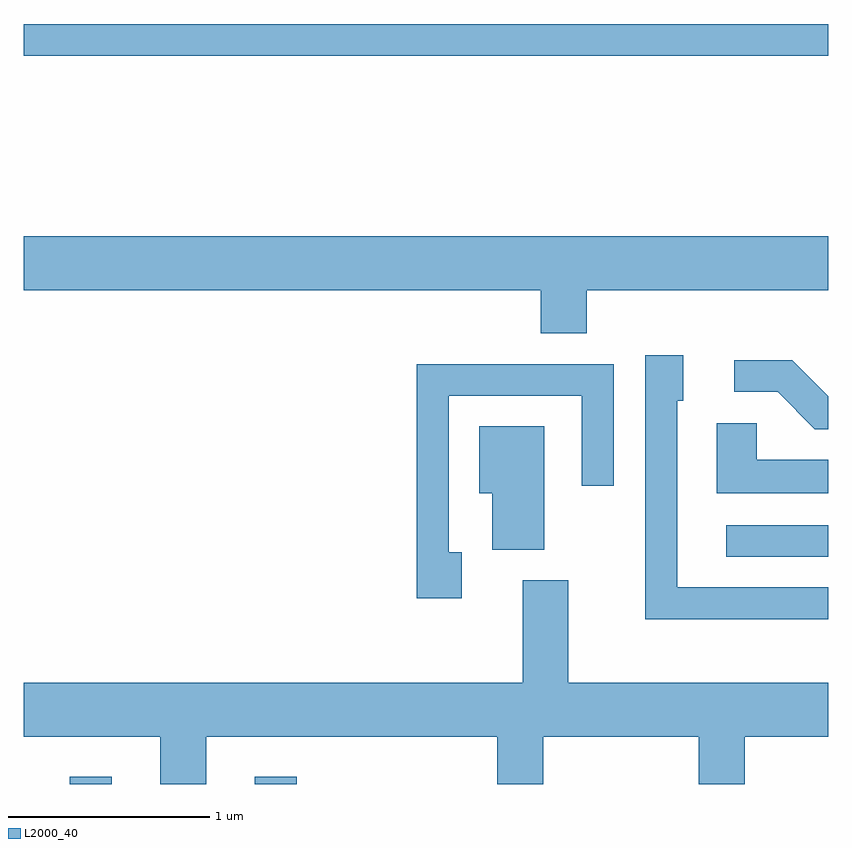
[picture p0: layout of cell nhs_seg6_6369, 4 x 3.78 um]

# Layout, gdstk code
import gdstk
lib = gdstk.Library(unit=1e-6, precision=1e-09)
def R(c, l, rs):  # rectangles x0, y0, x1, y1
    for r in rs: c.add(gdstk.rectangle(r[:2], r[2:], *l))
def P(c, l, *ps):  # polygons
    for p in ps: c.add(gdstk.Polygon(p, *l))
L2000_40 = (2000, 40)

nhs_seg6_6369 = lib.new_cell('nhs_seg6_6369')
R(nhs_seg6_6369, L2000_40, [(377.841,1634.162,378.049,1634.199), (378.761,1634.162,378.969,1634.199), (381.103,1635.291,381.611,1635.449), (377.611,1637.781,381.611,1637.939)])
P(nhs_seg6_6369, L2000_40, [(380.409,1636.616),(381.611,1636.616),(381.611,1636.884),(377.611,1636.884),(377.611,1636.616),(380.181,1636.616),(380.181,1636.401),(380.409,1636.401)],
  [(381.611,1635.139),(380.859,1635.139),(380.859,1636.066),(380.889,1636.066),(380.889,1636.294),(380.701,1636.294),(380.701,1634.981),(381.611,1634.981)],
  [(381.611,1636.09),(381.432,1636.269),(381.143,1636.269),(381.143,1636.111),(381.359,1636.111),(381.544,1635.926),(381.611,1635.926)],
  [(379.789,1635.314),(379.724,1635.314),(379.724,1636.091),(380.386,1636.091),(380.386,1635.643),(380.544,1635.643),(380.544,1636.249),(379.566,1636.249),(379.566,1635.086),(379.789,1635.086)],
  [(381.611,1635.774),(381.254,1635.774),(381.254,1635.954),(381.056,1635.954),(381.056,1635.606),(381.611,1635.606)],
  [(380.199,1635.939),(379.876,1635.939),(379.876,1635.606),(379.941,1635.606),(379.941,1635.326),(380.199,1635.326)],
  [(378.519,1634.396),(379.966,1634.396),(379.966,1634.162),(380.194,1634.162),(380.194,1634.396),(380.966,1634.396),(380.966,1634.162),(381.194,1634.162),(381.194,1634.396),(381.611,1634.396),(381.611,1634.664),(380.319,1634.664),(380.319,1635.174),(380.091,1635.174),(380.091,1634.664),(377.611,1634.664),(377.611,1634.396),(378.291,1634.396),(378.291,1634.162),(378.519,1634.162)])

lib.write_gds('nhs_seg6_6369.gds')
